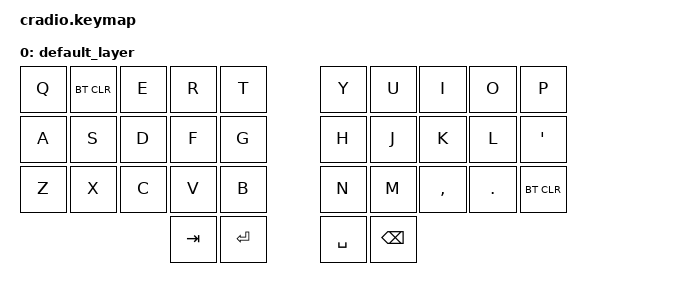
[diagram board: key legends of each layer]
// Copyright (c) 2022 The ZMK Contributors
// SPDX-License-Identifier: MIT

#include <behaviors.dtsi>
#include <dt-bindings/zmk/keys.h>
#include <dt-bindings/zmk/bt.h>

&kscan0 {
    input-gpios
    = <&pro_micro 10 (GPIO_ACTIVE_LOW | GPIO_PULL_UP)>
    , <&pro_micro 17 (GPIO_ACTIVE_LOW | GPIO_PULL_UP)>
    , <&pro_micro 18 (GPIO_ACTIVE_LOW | GPIO_PULL_UP)>
    , <&pro_micro 19 (GPIO_ACTIVE_LOW | GPIO_PULL_UP)>
    , <&pro_micro 20 (GPIO_ACTIVE_LOW | GPIO_PULL_UP)>
    , <&pro_micro 16 (GPIO_ACTIVE_LOW | GPIO_PULL_UP)>
    , <&pro_micro 15 (GPIO_ACTIVE_LOW | GPIO_PULL_UP)>
    , <&pro_micro 14 (GPIO_ACTIVE_LOW | GPIO_PULL_UP)>
    , <&pro_micro 13 (GPIO_ACTIVE_LOW | GPIO_PULL_UP)>
    , <&pro_micro  1 (GPIO_ACTIVE_LOW | GPIO_PULL_UP)>
    , <&pro_micro  5 (GPIO_ACTIVE_LOW | GPIO_PULL_UP)>
    , <&pro_micro  6 (GPIO_ACTIVE_LOW | GPIO_PULL_UP)>
    , <&pro_micro  7 (GPIO_ACTIVE_LOW | GPIO_PULL_UP)>
    , <&pro_micro  8 (GPIO_ACTIVE_LOW | GPIO_PULL_UP)>
    , <&pro_micro  9 (GPIO_ACTIVE_LOW | GPIO_PULL_UP)>
    , <&pro_micro 11 (GPIO_ACTIVE_LOW | GPIO_PULL_UP)>
    , <&pro_micro 12 (GPIO_ACTIVE_LOW | GPIO_PULL_UP)>
    ;
};

/ {
    keymap {
        compatible = "zmk,keymap";
        default_layer {
            bindings = <
        //╭──────────┬──────────┬──────────┬──────────┬──────────╮   ╭──────────┬──────────┬──────────┬──────────┬──────────╮
        //│  Q       │  W       │  E       │  R       │  T       │   │  Y       │  U       │  I       │  O       │  P       │
            &kp Q     &bt BT_CLR  &kp E      &kp R      &kp T          &kp Y      &kp U      &kp I      &kp O      &kp P
        //├──────────┼──────────┼──────────┼──────────┼──────────┤   ├──────────┼──────────┼──────────┼──────────┼──────────┤
        //│  A       │  S       │  D       │  F       │  G       │   │  H       │  J       │  K       │  L       │ ' "      │
            &kp A      &kp S      &kp D      &kp F      &kp G          &kp H      &kp J      &kp K      &kp L      &kp SQT
        //├──────────┼──────────┼──────────┼──────────┼──────────┤   ├──────────┼──────────┼──────────┼──────────┼──────────┤
        //│  Z       │  X       │  C       │  V       │  B       │   │  N       │  M       │ , <      │ . >      │ / ?      │
            &kp Z      &kp X      &kp C      &kp V      &kp B          &kp N      &kp M      &kp COMMA  &kp DOT    &bt BT_CLR
        //╰──────────┴──────────┴──────────┼──────────┼──────────┤   ├──────────┼──────────┼──────────┴──────────┴──────────╯
                                            &kp TAB   &kp ENTER     &kp SPACE  &kp BSPC
        //                                 ╰──────────┴──────────╯   ╰──────────┴──────────╯
            >;
        };
    };
};
